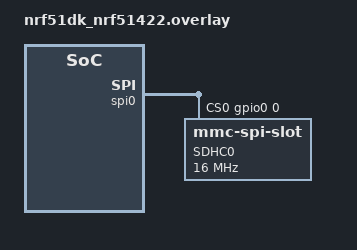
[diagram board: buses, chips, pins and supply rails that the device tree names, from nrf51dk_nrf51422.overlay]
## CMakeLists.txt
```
# SPDX-License-Identifier: Apache-2.0

cmake_minimum_required(VERSION 3.13.1)
find_package(Zephyr HINTS $ENV{ZEPHYR_BASE})
project(ctrace)

FILE(GLOB app_sources src/*.c)
target_sources(app PRIVATE ${app_sources})

zephyr_library_include_directories(${ZEPHYR_BASE}/samples/bluetooth)
```

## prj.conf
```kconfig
CONFIG_BT=y
CONFIG_BT_BROADCASTER=y
CONFIG_BT_OBSERVER=y
CONFIG_BT_DEBUG_LOG=y
CONFIG_ENTROPY_DEVICE_RANDOM_GENERATOR=y
CONFIG_HARDWARE_DEVICE_CS_GENERATOR=y
CONFIG_TINYCRYPT=y
CONFIG_TINYCRYPT_SHA256_HMAC=y
CONFIG_TINYCRYPT_SHA256=y
CONFIG_SPI=y
CONFIG_SPI_1=y
CONFIG_DISK_ACCESS=y
CONFIG_DISK_ACCESS_SDHC=y
CONFIG_DISK_ACCESS_SPI_SDHC=y
CONFIG_LOG=y
CONFIG_FILE_SYSTEM=y
CONFIG_FAT_FILESYSTEM_ELM=y
CONFIG_GPIO=y
# hardening
#CONFIG_BOOT_BANNER=n
#CONFIG_STACK_CANARIES=y
#CONFIG_STACK_POINTER_RANDOM=100
#CONFIG_PRINTK=n
#CONFIG_EARLY_CONSOLE=n
#CONFIG_OVERRIDE_FRAME_POINTER_DEFAULT=y
#CONFIG_LOG=n
#CONFIG_BUILD_OUTPUT_STRIPPED=y
#CONFIG_FAULT_DUMP=0
#CONFIG_STACK_SENTINEL=y
#shell

CONFIG_SHELL=y
CONFIG_SHELL_BACKENDS=y
CONFIG_SHELL_BACKEND_SERIAL=y
CONFIG_SHELL_PROMPT_UART="ctrace:~$ "
CONFIG_UART_SHELL_ON_DEV_NAME="UART_0"
CONFIG_SHELL_BACKEND_SERIAL_INTERRUPT_DRIVEN=y
CONFIG_SHELL_BACKEND_SERIAL_TX_RING_BUFFER_SIZE=8
CONFIG_SHELL_BACKEND_SERIAL_RX_RING_BUFFER_SIZE=64
CONFIG_SHELL_BACKEND_SERIAL_LOG_MESSAGE_QUEUE_TIMEOUT=100
CONFIG_SHELL_BACKEND_SERIAL_LOG_MESSAGE_QUEUE_SIZE=10
CONFIG_SHELL_STACK_SIZE=2048
CONFIG_SHELL_BACKSPACE_MODE_DELETE=y
CONFIG_SHELL_CMD_BUFF_SIZE=256
CONFIG_SHELL_PRINTF_BUFF_SIZE=30
CONFIG_SHELL_ARGC_MAX=12
CONFIG_SHELL_ECHO_STATUS=y
CONFIG_SHELL_VT100_COLORS=y
CONFIG_SHELL_METAKEYS=y
CONFIG_SHELL_HELP=y
CONFIG_SHELL_HELP_ON_WRONG_ARGUMENT_COUNT=y
CONFIG_SHELL_CMDS=y
CONFIG_SHELL_CMDS_RESIZE=y
CONFIG_KERNEL_SHELL=y
CONFIG_DEVICE_SHELL=y
CONFIG_POSIX_CLOCK=y
CONFIG_NEWLIB_LIBC=y

#CONFIG_DISK_LOG_LEVEL_DBG=y
#CONFIG_SPI_LOG_LEVEL_DBG=y
#CONFIG_LOG_BUFFER_SIZE=8192
```

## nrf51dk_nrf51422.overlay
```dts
&spi0 {
        status = "okay";
        cs-gpios = <&gpio0 0 GPIO_ACTIVE_HIGH>;

        sdhc0: sdhc@0 {
                compatible = "zephyr,mmc-spi-slot";
                reg = <0>;
                status = "okay";
                label = "SDHC0";
                spi-max-frequency = <16000000>;
        };
};
```

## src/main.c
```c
/* main.c - Application main entry point */

/*
 * Copyright (c) 2020 stf
 *
 * SPDX-License-Identifier: Apache-2.0
 */

#include <device.h>
#include <zephyr/types.h>
#include <stddef.h>
#include <sys/printk.h>
#include <sys/util.h>

#include <bluetooth/bluetooth.h>
#include <bluetooth/hci.h>

#include <disk/disk_access.h>
#include <logging/log.h>
#include <fs/fs.h>
#include <ff.h>

#include <devicetree.h>
#include <drivers/gpio.h>

#include <shell/shell.h>

#include <stdlib.h>
#include <posix/time.h>
#include <time.h>

#include <fs/fs.h>

LOG_MODULE_REGISTER(main);

// led0 on when advertizing
#define LED0_NODE DT_ALIAS(led0)
#define LED0   DT_GPIO_LABEL(LED0_NODE, gpios)
#define TXLED_PIN DT_GPIO_PIN(LED0_NODE, gpios)
#if DT_PHA_HAS_CELL(LED0_NODE, gpios, flags)
#define TXLED_FLAGS  DT_GPIO_FLAGS(LED0_NODE, gpios)
#else
#define TXLED_FLAGS 0
#endif

// led1 on when receiving ephid
#define LED1_NODE DT_ALIAS(led1)
#define LED1   DT_GPIO_LABEL(LED1_NODE, gpios)
#define RXLED_PIN DT_GPIO_PIN(LED1_NODE, gpios)
#if DT_PHA_HAS_CELL(LED1_NODE, gpios, flags)
#define RXLED_FLAGS  DT_GPIO_FLAGS(LED1_NODE, gpios)
#else
#define RXLED_FLAGS 0
#endif

// mutex so we can fsync the logfile in the main thread
// while the scan_cb thread tries to write to it
K_MUTEX_DEFINE(lf_mutex);

// led1 is initialized in main but used in scan_cb
struct device *rxled;

static FATFS fat_fs;
/* mounting info */
static struct fs_mount_t mp = {
   .type = FS_FATFS,
   .fs_data = &fat_fs,
};

// file handle for the logfile
struct fs_file_t logfile;
// in case we don't have an sd card we skip using it
int have_fs = 0;
int have_logfile = 0;


static u8_t mfg_data[22] = { 0xfd, 0xf6, };
u8_t *token = mfg_data + 2;

// advertisment beacon
static const struct bt_data ad[] = {
   // flags    02011a
   BT_DATA_BYTES(BT_DATA_FLAGS, 0x1a),
   // 16buuid  0303fdf6
   BT_DATA_BYTES(BT_DATA_UUID16_ALL, 0xfd, 0xf6),
   // data     1716fdf6<16rpi><4aem>
   BT_DATA(BT_DATA_SVC_DATA16, mfg_data, sizeof mfg_data),
};

// -----------------------------------------------------------------------

static void update_timer_handler(struct k_timer *dummy) {
  LOG_INF("update timer triggered");
  sys_csrand_get(token,20);
}

K_TIMER_DEFINE(update_timer, update_timer_handler, NULL);

void init(void) {
  LOG_INF("Initializing SS");
  sys_csrand_get(token,20);

  if(have_fs) {
    if(0!=fs_open(&logfile, "/SD:/dp3t.log")) {
      LOG_ERR("Unable to open logfile");
      have_logfile = 0;
    } else if(0!=fs_seek(&logfile, 0, FS_SEEK_END)) {
      LOG_ERR("Unable to seek to end of logfile");
      have_logfile = 0;
    } else {
      have_logfile = 1;
    }
  }
}
//----------------------------------------------------------

// callback in case an advertisement is received
static void scan_cb(const bt_addr_le_t *addr, s8_t rssi, u8_t adv_type, struct net_buf_simple *buf) {
  // only handle c019 advertisments
  const uint8_t prefix[11]={0x02, 0x01, 0x1a, 0x03, 0x03, 0xfd, 0xf6, 0x17, 0x16, 0xfd, 0xf6};

  if(buf->len!=31 || memcmp(buf->data,prefix,sizeof prefix)!=0) return;
  // rx led on
  gpio_pin_set(rxled, RXLED_PIN, 1);
  // only needed for devel/debug log on uart
  u8_t name[BT_ADDR_LE_STR_LEN];
  bt_addr_le_to_str(addr, name, BT_ADDR_LE_STR_LEN);
  LOG_INF("type: %d rssi: %d, addr %s", adv_type, rssi, log_strdup(name));
  LOG_HEXDUMP_INF(buf->data, buf->len, "data");
  // if we have a logfile we dump the rssid+ephid to it.
  if(have_fs) {
    u8_t entry[16+sizeof rssi];
    // todo check if time is set, then also store timestamp
    memcpy(entry, &rssi, sizeof rssi);
    memcpy(entry+sizeof rssi, buf->data+2, 16);

    // we need to lock the mutex, since the main loop might want to
    // sync the logfile from time to time
    if (k_mutex_lock(&lf_mutex, K_MSEC(100)) == 0) {
      /* mutex successfully locked */
      if(sizeof entry != fs_write(&logfile, entry, sizeof entry)) {
        printk("failed to write log entry\n");
      }
      k_mutex_unlock(&lf_mutex);
    } else {
      printk("Cannot lock lf mutex for logging ephid\n");
    }
  }
  // rx led off
  gpio_pin_set(rxled, RXLED_PIN, 0);
}

static int cmd_ctrace_gettime(const struct shell *shell, size_t argc, char **argv) {
  ARG_UNUSED(argc);
  ARG_UNUSED(argv);

  struct timespec tspec;
  clock_gettime(CLOCK_REALTIME, &tspec);
  struct tm t;
  if(&t!=gmtime_r(&tspec.tv_sec, &t)) {
    shell_error(shell,"cannot convert time from seconds since epoch");
    return 1;
  }
  shell_print(shell, "%d-%d-%dT%d:%d:%d", 1900+t.tm_year, 1+t.tm_mon, t.tm_mday, t.tm_hour, t.tm_min, t.tm_sec);
  return 0;
}

static int cmd_ctrace_settime(const struct shell *shell, size_t argc, char **argv) {
  if(argc!=2) {
    shell_error(shell, "Must provide seconds since unix epoch as parameter.");
    return 1;
  }
  struct timespec tspec;
  tspec.tv_sec = atoi(argv[1]);
  tspec.tv_nsec = 0;
  if(0!=clock_settime(CLOCK_REALTIME, &tspec)) {
    shell_error(shell, "Cannot set time");
    return 1;
  }

  return 0;
}

/* Creating subcommands (level 1 command) array for command "demo". */
SHELL_STATIC_SUBCMD_SET_CREATE(sub_ctrace,
        SHELL_CMD(settime, NULL, "set time command.", cmd_ctrace_settime),
        SHELL_CMD(gettime, NULL, "get time command.", cmd_ctrace_gettime),
        SHELL_SUBCMD_SET_END
);
/* Creating root (level 0) command "ctrace" without a handler */
SHELL_CMD_REGISTER(ctrace, &sub_ctrace, "ctrace commands", NULL);

static int fs_init(void) {
  /* raw disk i/o */
  static const char *disk_pdrv = "SD";
  if (disk_access_init(disk_pdrv) != 0) {
    LOG_ERR("Storage init ERROR!");
    return 0;
  }

  mp.mnt_point = "/SD:";
  // try to mount the FAT partition on the SD card
  if (fs_mount(&mp) != FR_OK) {
    LOG_ERR("Error mounting disk.");
    return 0;
  }
  LOG_INF("Disk mounted.");

  return 1;
}

static struct device* led_init(const char *name, gpio_pin_t pin, gpio_flags_t flags) {
  struct device *led_dev = device_get_binding(name);
  if (led_dev == NULL) {
    LOG_ERR("couldn't bind %s", name);
    return NULL;
  }
  if(0 > gpio_pin_configure(led_dev, pin, GPIO_OUTPUT_ACTIVE | flags)) {
    LOG_ERR("couldn't configure %s", name);
    return NULL;
  }
  // switch off led
  gpio_pin_set(led_dev, pin, 0);
  return led_dev;
}

void main(void) {
  have_fs = fs_init();

  // tx led
  struct device *txled = led_init(LED0, TXLED_PIN, TXLED_FLAGS);
  // rx led (is global)
  rxled = led_init(LED1, RXLED_PIN, RXLED_FLAGS);

  init();

  // ble setup
  struct bt_le_scan_param scan_param = {
        .type       = BT_HCI_LE_SCAN_PASSIVE,
        .options    = BT_LE_SCAN_OPT_NONE,
        .interval   = 0x0010,
        .window     = 0x0010,
  };
  int err;

  LOG_INF("Starting Bluetooth subsystem");
  /* Initialize the Bluetooth Subsystem */
  err = bt_enable(NULL);
  if (err) {
    LOG_ERR("Bluetooth init failed (err %d)", err);
    return;
  }

  LOG_INF("Bluetooth initialized");

  err = bt_le_scan_start(&scan_param, scan_cb);
  if (err) {
    LOG_ERR("Starting to scan failed (err %d)", err);
    return;
  }

  // main loop
  do {
    k_sleep(K_MSEC(1000));
    // tx led
    gpio_pin_set(txled, TXLED_PIN, 1);

    /* Start advertising */
    err = bt_le_adv_start(BT_LE_ADV_NCONN, ad, ARRAY_SIZE(ad), NULL, 0);
    if (err) {
      LOG_ERR("Advertising failed to start (err %d)", err);
      return;
    }

    k_sleep(K_MSEC(400));

    err = bt_le_adv_stop();
    if (err) {
      LOG_ERR("Advertising failed to stop (err %d)", err);
      return;
    }

    gpio_pin_set(txled, TXLED_PIN, 0);

    if (k_mutex_lock(&lf_mutex, K_MSEC(10)) == 0) {
      /* mutex successfully locked */
      if(0!=fs_sync(&logfile)) {
        LOG_ERR("Failed to sync logfile");
      }
      k_mutex_unlock(&lf_mutex);
    } else {
      LOG_WRN("Cannot lock lf mutex for syncing");
    }

  } while (1);
}
```

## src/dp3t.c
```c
#include <logging/log.h>

#include <tinycrypt/sha256.h>
#include <tinycrypt/hmac.h>
#include <bluetooth/crypto.h>
#include <tinycrypt/constants.h>

#include <fs/fs.h>

#include <posix/time.h>
#include <time.h>

LOG_MODULE_REGISTER(dp3t);

#include "set.h"

extern int have_fs, have_logfile;
extern u8_t *token;
extern struct fs_file_t logfile;
static struct fs_file_t ctxfile;
static int have_ctxfile;

// a new day, a new SK
// SK = SHA256(SK)
static int next_sk(u8_t *SK) {
  struct tc_sha256_state_struct ctx;
  tc_sha256_init(&ctx);
  if(TC_CRYPTO_FAIL==tc_sha256_update (&ctx, SK, 32)) {
    LOG_ERR("failed to gen next SK (update)");
    return -1;
  }
  if(TC_CRYPTO_FAIL==tc_sha256_final(SK, &ctx)) {
    LOG_ERR("failed to gen next SK (final)");
    return -1;
  }
  return 0;
}

// tag is derived from SK and used as key in the AESCTR DBRG
// tag = HMAC-SHA256(SK, "broadcast key")
static int get_tag(const u8_t *SK, u8_t *tag) {
  struct tc_hmac_state_struct ctx;
  (void)memset(&ctx, 0x00, sizeof(ctx));
  if(TC_CRYPTO_FAIL==tc_hmac_set_key(&ctx, SK, 32)) {
    LOG_ERR("failed to set key of HMAC");
    return -1;
  }
  if(TC_CRYPTO_FAIL==tc_hmac_init(&ctx)) {
    LOG_ERR("failed to init HMAC");
    return -1;
  }
  if(TC_CRYPTO_FAIL==tc_hmac_update (&ctx, "broadcast key", 13)) {
    LOG_ERR("failed to hmac (update)");
    return -1;
  }
  if(TC_CRYPTO_FAIL==tc_hmac_final(tag, TC_SHA256_DIGEST_SIZE, &ctx)) {
    LOG_ERR("failed to hmac (final)");
    return -1;
  }
  return 0;
}

// get_ephid implements the PRG which derives the ith ephid using AES CTR
// ephid_i = AESCTR(tag, i)
static int get_ephid(const u8_t *tag, const u32_t i, u8_t *ephid) {
  u8_t ctr[16]={0};
  memcpy(ctr+12,&i,4);
  if(0!=bt_encrypt_le(tag, ctr, ephid)) {
    LOG_ERR("failed to aes-ctr ephid");
    return -1;
  }
  return 0;
}

static struct {
  time_t SK0_ts;      // counts the age of SK0 in days
  u8_t SK0[32];       // the oldest sk younger than 14 days
  u8_t SK[32];        // the current SK
  u8_t tag[TC_SHA256_DIGEST_SIZE];
  ephids_set ephids;
  time_t ephid_ts;
  u8_t ephid[16];
} ctx;

static void logctx(void) {
  struct tm t;
  if(&t!=gmtime_r(&ctx.SK0_ts, &t)) {
    LOG_ERR("cannot convert to time from SK0_ts");
  } else {
    LOG_INF("sk0_ts: %d-%d-%dT%d:%d:%d", 1900+t.tm_year, 1+t.tm_mon, t.tm_mday, t.tm_hour, t.tm_min, t.tm_sec);
  }
  LOG_HEXDUMP_INF(ctx.SK0, sizeof ctx.SK0, "sk0");
  LOG_HEXDUMP_INF(ctx.SK, sizeof ctx.SK, "sk");
  LOG_HEXDUMP_INF(ctx.tag, sizeof ctx.tag, "tag");
  LOG_HEXDUMP_INF(&ctx.ephids, sizeof ctx.ephids, "ephids");
  if(&t!=gmtime_r(&ctx.ephid_ts, &t)) {
    LOG_ERR("cannot convert to time from ephid_ts");
  } else {
    LOG_INF("ephid_ts: %d-%d-%dT%d:%d:%d", 1900+t.tm_year, 1+t.tm_mon, t.tm_mday, t.tm_hour, t.tm_min, t.tm_sec);
  }
  LOG_HEXDUMP_INF(ctx.ephid, sizeof ctx.ephid, "ephid");
}

static int savectx(void) {
  if(!have_fs || !have_ctxfile) return 1;
  LOG_INF("Saving dp3t ctx");
  // try to load last state from fs

  if(sizeof ctx != fs_write(&ctxfile, &ctx, sizeof ctx)) {
    LOG_ERR("failed to write dp3t.ctx");
    fs_close(&ctxfile);
    return 1;
  }

  if(0!=fs_sync(&ctxfile)) {
    LOG_ERR("Failed to sync ctxfile");
  }

  if(sizeof ctx != fs_seek(&ctxfile, 0, FS_SEEK_SET)) {
    LOG_ERR("failed to seek dp3t.ctxnew");
    fs_close(&ctxfile);
    have_ctxfile=0;
    return 1;
  }

  LOG_INF("Successfully saved dp3t.ctx");
  return 0;
}

static int advance_sk(void) {
  // generate next SK
  if(0!=next_sk(ctx.SK)) {
    LOG_ERR("failed to derive next SK");
    k_fatal_halt(4);
  }
  // while if SK0 is older than 14 days advance it
  struct timespec ts;
  clock_gettime(CLOCK_REALTIME, &ts);
  while(ctx.SK0_ts + 14*24*60*60 < ts.tv_sec) {
    next_sk(ctx.SK0);
    ctx.SK0_ts+=24*60*60;
  }
  // recalculate tag
  LOG_INF("recalculating tag");
  if(0!=get_tag(ctx.SK,ctx.tag)) {
    LOG_ERR("failed to derive tag from SK");
    k_fatal_halt(5);
  }

  // reset set of available ephids
  init_set(&ctx.ephids);
  return 0;
}

static void update_timer_handler(struct k_timer *dummy) {
  LOG_INF("dp3t update timer triggered");
  // get absolute time
  struct timespec ts;
  clock_gettime(CLOCK_REALTIME, &ts);
  struct tm t;
  if(&t!=gmtime_r(&ts.tv_sec, &t)) {
    LOG_ERR("cannot convert time from seconds since epoch");
    k_fatal_halt(2);
  }

  int advanced = 0;
  // check if close to midnight, if so, advance sk
  if((t.tm_hour==23 && t.tm_min > 60-DP3T_EPOCH/2) ||  (t.tm_hour==0 && t.tm_min < DP3T_EPOCH/2)) {
    LOG_INF("midnight advance SK");
    if(0!=advance_sk()) {
      LOG_ERR("failed to advance SK");
      k_fatal_halt(9);
    }
    advanced=1;
  }

  // get next ephid
  int ephid_idx = nextid(&ctx.ephids);
  // oops? invalid ephid idx from shuffled set?
  if(ephid_idx>=DP3T_EPIDS_PER_DAY) {
    LOG_ERR("invalid ephid idx from nextid: %d", ephid_idx);
    k_fatal_halt(1);
  }
  // nextid returned an error? probably the shuffled set is empty?
  if(ephid_idx==-1) {
    LOG_INF("nextid returned -1, empty set?");
    if(advanced) {
      LOG_ERR("failed to get next ephid directly after advancing SK");
      k_fatal_halt(10);
    }
    // most probably we have no more ids to chose from,
    // so we might want to check if we are close to midnight, if so advance SK
    if(!((t.tm_hour==23 && t.tm_min > 60-DP3T_EPOCH) ||  (t.tm_hour==0 && t.tm_min < DP3T_EPOCH))) {
      LOG_ERR("Error ran out of ephids and not close enough to midnight: %d-%d-%dT%d:%d:%d", 1900+t.tm_year, 1+t.tm_mon, t.tm_mday, t.tm_hour, t.tm_min, t.tm_sec);
      k_fatal_halt(3);
    }
    if(0!=advance_sk()) {
      LOG_ERR("failed to advance SK after failing to get ephid the 1st time");
      k_fatal_halt(11);
    }
    ephid_idx = nextid(&ctx.ephids);
    LOG_INF("next id: %d", ephid_idx);
    if(ephid_idx>=DP3T_EPIDS_PER_DAY) {
      LOG_ERR("invalid ephid idx from nextid: %d", ephid_idx);
      k_fatal_halt(6);
    }
    if(ephid_idx==-1) {
      LOG_ERR("invalid ephid idx from nextid: %d - even after advancing SK!", ephid_idx);
      k_fatal_halt(7);
    }
  }
  if(0!=get_ephid(ctx.tag,ephid_idx,ctx.ephid)) {
    LOG_ERR("fatal error: failed to do aesctr for PRG");
    k_fatal_halt(8);
  }
  memcpy(token,ctx.ephid, sizeof ctx.ephid);
  memcpy(&ctx.ephid_ts, &ts.tv_sec, sizeof ctx.ephid_ts);
  logctx();
  savectx();
}

K_TIMER_DEFINE(update_timer, update_timer_handler, NULL);

static int loadctx(void) {
  if(!have_fs) return 1;

  if(0!=fs_open(&ctxfile, "/SD:/dp3t.ctx")) {
    LOG_ERR("Unable to open dp3t.ctx");
    have_ctxfile=0;
    return 1;
  } else {
    have_ctxfile=1;
  }

  // try to load last state from fs
  LOG_INF("attempting to load last dp3t ctx");

  if(sizeof ctx != fs_read(&ctxfile, &ctx, sizeof ctx)) {
    LOG_ERR("failed to load dp3t.ctx");
    return 1;
  }
  LOG_INF("loaded ctx, checking sanity");

  // do a sanity check that SK0 is a predecessor of SK within 14 days
  int i;
  uint8_t sk[sizeof ctx.SK];
  memcpy(sk,ctx.SK0,sizeof ctx.SK0);
  for(i=0;i<14;i++) {
    if(memcmp(sk,ctx.SK0,sizeof ctx.SK)==0) {
      break;
    }
    next_sk(sk);
  }
  if(i>=14) {
    LOG_ERR("loaded SK is not within 14 hashes of SK0, ctx is invalid");
    return 1;
  }
  if(ctx.SK0_ts<1591384118) {
    LOG_ERR("loaded SK0 is older than expected, ctx is invalid");
    return 1;
  }

  if(ctx.ephid_ts < ctx.SK0_ts) {
    LOG_ERR("loaded ephid is older than expected, ctx is invalid");
    return 1;
  }

  LOG_INF("verifying tag");
  u8_t tag[sizeof ctx.tag];
  if(0!=get_tag(ctx.SK,tag)) {
    LOG_ERR("failed to derive tag from SK");
    return 1;
  }
  if(memcmp(&ctx.tag,tag,sizeof tag)!=0) {
    LOG_ERR("tag in ctx is not derived from SK in ctx");
    return 1;
  }

  LOG_INF("Successfully verified dp3t.ctx");

  logctx();

  return 0;
}

int dp3t_init(void) {
  LOG_INF("Initializing DP3T");
  if(0!=loadctx()) {
    // no context found, start from scratch
    // initialize SK
    LOG_INF("Loading previous dp3t ctx failed, initializing SK");
    sys_csrand_get(ctx.SK,32);
    // make a copy of it to keep it for 14 "days"
    memcpy(ctx.SK0,ctx.SK,32);

    struct timespec t;
    clock_gettime(CLOCK_REALTIME, &t);
    memcpy(&ctx.SK0_ts, &t.tv_sec, sizeof ctx.SK0_ts);

    memset(&ctx.ephid_ts,0,sizeof ctx.ephid_ts);
    memset(&ctx.ephid,0,sizeof ctx.ephid);

    init_set(&ctx.ephids);
    LOG_INF("Initializing tag");
    // tag needs to be calculated once, after changing SK
    if(0!=get_tag(ctx.SK,ctx.tag)) {
      LOG_ERR("failed to derive tag from SK");
    }
  }

  struct timespec t;
  clock_gettime(CLOCK_REALTIME, &t);
  if(ctx.ephid_ts + DP3T_EPOCH_SECONDS <= t.tv_sec) {
    // ephid is too old, get a new one
    LOG_INF("getting fresh ephid");
    if(0!=get_ephid(ctx.tag,nextid(&ctx.ephids),ctx.ephid)) {
      LOG_ERR("failed to get ephid");
      return 1;
    }
    memcpy(token,&ctx.ephid, sizeof ctx.ephid);
    memcpy(&ctx.ephid_ts, &t.tv_sec, sizeof ctx.ephid_ts);
    // set timer to trigger changing ephids and possibly SK
    k_timer_start(&update_timer, K_SECONDS(DP3T_EPOCH_SECONDS), K_SECONDS(DP3T_EPOCH_SECONDS));
  } else {
    memcpy(token,&ctx.ephid, sizeof ctx.ephid);
    // set timer to - so that the current ephid still has some time before expiration - trigger changing ephids and possibly SK
    k_timer_start(&update_timer, K_SECONDS(ctx.ephid_ts - t.tv_sec + DP3T_EPOCH_SECONDS), K_SECONDS(DP3T_EPOCH_SECONDS));
  }

  if(have_fs) {
    savectx();
    if(0!=fs_open(&logfile, "/SD:/dp3t.log")) {
      LOG_ERR("Unable to open logfile");
      have_logfile = 0;
    } else if(0!=fs_seek(&logfile, 0, FS_SEEK_END)) {
      LOG_ERR("Unable to seek to end of logfile");
      have_logfile = 0;
    } else {
      have_logfile = 1;
    }
  }

  logctx();
  return 0;
}

void dp3t_stop(void) {
  k_timer_stop(&update_timer);
  savectx();
  fs_close(&logfile);
  fs_close(&ctxfile);
}
```

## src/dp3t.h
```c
#ifndef dp3t_h
#define dp3t_h

#define DP3T_EPOCH 10                         // minutes
#define DP3T_EPOCH_SECONDS (DP3T_EPOCH*60)    // seconds
#define DP3T_EPIDS_PER_DAY (24*60)/DP3T_EPOCH

int dp3t_init(void);
void dp3t_stop(void);

#endif //dp3t_h
```

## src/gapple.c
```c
#include <logging/log.h>

#include <tinycrypt/sha256.h>
#include <tinycrypt/hmac.h>
#include <bluetooth/crypto.h>
#include <tinycrypt/constants.h>

#include <fs/fs.h>

#include <posix/time.h>
#include <time.h>

LOG_MODULE_REGISTER(dp3t);

#include "set.h"

extern int have_fs, have_logfile;
extern u8_t *token;
extern struct fs_file_t logfile;

static struct fs_file_t ctxfile;
static int have_ctxfile;

#define TEKRollingPeriod 144

static uint32_t ENIntervalNumber(void) {
  struct timespec ts;
  clock_gettime(CLOCK_REALTIME, &ts);
  // TODO must be little endian
  return ts.tv_sec / 600;
}

// store 14 {tek, i} pairs
void next_tek(uint8_t *tek) {
  sys_csrand_get(tek,16);
}

int hkdf(const uint8_t *key, const size_t key_len,
         const uint8_t *salt, const size_t salt_len,
         const uint8_t *info, const size_t info_len,
         uint8_t *okm, const size_t okm_len) {
  LOG_HEXDUMP_INF(key, key_len, "key");
  LOG_HEXDUMP_INF(salt, salt_len, "salt");
  LOG_HEXDUMP_INF(info, info_len, "info");
  struct tc_hmac_state_struct ctx;

  // extract
  if(salt && salt_len>0) {
    LOG_INF("adding salt");
    if(TC_CRYPTO_FAIL==tc_hmac_set_key(&ctx, salt, salt_len)) {
        LOG_ERR("failed to hmac salt (update)");
        return -1;
    }
  } else {
    uint8_t zero_salt[TC_SHA256_DIGEST_SIZE]={0};
    LOG_INF("adding zero salt");
    if(TC_CRYPTO_FAIL==tc_hmac_set_key(&ctx, zero_salt, sizeof zero_salt)) {
        LOG_ERR("failed to hmac zero_salt (update)");
        return -1;
    }
  }

  if(TC_CRYPTO_FAIL==tc_hmac_init(&ctx)) {
    LOG_ERR("failed to init extractor HMAC");
    return -1;
  }

  if(TC_CRYPTO_FAIL==tc_hmac_update(&ctx, key, key_len)) {
    LOG_ERR("failed to set key of extractor HMAC");
    return -1;
  }


  uint8_t prk[TC_SHA256_DIGEST_SIZE];
  if(TC_CRYPTO_FAIL==tc_hmac_final(prk, TC_SHA256_DIGEST_SIZE, &ctx)) {
    LOG_ERR("failed to hmac prk (final)");
    return -1;
  }
  LOG_HEXDUMP_INF(prk, sizeof prk, "prk");

  // expand
  size_t i,L;
  uint8_t T[TC_SHA256_DIGEST_SIZE], c=1, *dptr=okm;
  for(L=okm_len;L>0;i++) {
    if(TC_CRYPTO_FAIL==tc_hmac_set_key(&ctx, prk, sizeof prk)) {
      LOG_ERR("failed to set key of HMAC");
      return -1;
    }
    if(TC_CRYPTO_FAIL==tc_hmac_init(&ctx)) {
      LOG_ERR("failed to init HMAC");
      return -1;
    }
    if(TC_CRYPTO_FAIL==tc_hmac_update (&ctx, T, c==1?0:sizeof T)) {
      LOG_ERR("failed to hmac (update)");
      return -1;
    }
    if(info && info_len>0) {
      if(TC_CRYPTO_FAIL==tc_hmac_update (&ctx, info, info_len)) {
        LOG_ERR("failed to hmac (update)");
        return -1;
      }
    }
    if(TC_CRYPTO_FAIL==tc_hmac_update (&ctx, &c, sizeof c)) {
      LOG_ERR("failed to hmac (update)");
      return -1;
    }
    c++;
    if(TC_CRYPTO_FAIL==tc_hmac_final(T, sizeof T, &ctx)) {
      LOG_ERR("failed to hmac (final)");
      return -1;
    }
    int len = (L>TC_SHA256_DIGEST_SIZE)?TC_SHA256_DIGEST_SIZE:L;
    memcpy(dptr,T,len);
    dptr+=len;
    L-=len;
  }
  return 0;
}

// Rolling Proximity Identifier Key 
int next_rpid(const uint8_t tek[16], uint8_t rpid[16]) {
  return hkdf(tek, sizeof tek, NULL, 0, "EN-RPIK", 7, rpid, 16);
}

void next_rpi(const uint8_t rpik[16], uint8_t rpi[16]) {
  uint8_t padded[16]="EN-RPI\x00\x00\x00\x00\x00\x00\x00\x00\x00\x00";
  *((uint32_t*) (padded+12))=ENIntervalNumber();
  bt_encrypt_le(rpik, padded, rpi);
}

int next_aemk(const uint8_t tek[16], uint8_t aemk[16]) {
  return hkdf(tek, sizeof tek, NULL, 0, "EN-AEMK", 7, aemk, 16);
}

void get_aem(const uint8_t aemk[16], const uint8_t rpi[16], const uint8_t metadata[16], uint8_t aem[16]) {
  uint8_t ct[16];
  bt_encrypt_le(aemk, rpi, ct);
  int i;
  for(i=0;i<16;i++) aem[i]=metadata[i]^ct[i];
}

// a new day, a new SK
// SK = SHA256(SK)
static int next_sk(u8_t *SK) {
  struct tc_sha256_state_struct ctx;
  tc_sha256_init(&ctx);
  if(TC_CRYPTO_FAIL==tc_sha256_update (&ctx, SK, 32)) {
    LOG_ERR("failed to gen next SK (update)");
    return -1;
  }
  if(TC_CRYPTO_FAIL==tc_sha256_final(SK, &ctx)) {
    LOG_ERR("failed to gen next SK (final)");
    return -1;
  }
  return 0;
}

// tag is derived from SK and used as key in the AESCTR DBRG
// tag = HMAC-SHA256(SK, "broadcast key")
static int get_tag(const u8_t *SK, u8_t *tag) {
  struct tc_hmac_state_struct ctx;
  (void)memset(&ctx, 0x00, sizeof(ctx));
  if(TC_CRYPTO_FAIL==tc_hmac_set_key(&ctx, SK, 32)) {
    LOG_ERR("failed to set key of HMAC");
    return -1;
  }
  if(TC_CRYPTO_FAIL==tc_hmac_init(&ctx)) {
    LOG_ERR("failed to init HMAC");
    return -1;
  }
  if(TC_CRYPTO_FAIL==tc_hmac_update (&ctx, "broadcast key", 13)) {
    LOG_ERR("failed to hmac (update)");
    return -1;
  }
  if(TC_CRYPTO_FAIL==tc_hmac_final(tag, TC_SHA256_DIGEST_SIZE, &ctx)) {
    LOG_ERR("failed to hmac (final)");
    return -1;
  }
  return 0;
}

// get_ephid implements the PRG which derives the ith ephid using AES CTR
// ephid_i = AESCTR(tag, i)
static int get_ephid(const u8_t *tag, const u32_t i, u8_t *ephid) {
  u8_t ctr[16]={0};
  memcpy(ctr+12,&i,4);
  if(0!=bt_encrypt_le(tag, ctr, ephid)) {
    LOG_ERR("failed to aes-ctr ephid");
    return -1;
  }
  return 0;
}

static struct {
  time_t SK0_ts;      // counts the age of SK0 in days
  u8_t SK0[32];       // the oldest sk younger than 14 days
  u8_t SK[32];        // the current SK
  u8_t tag[TC_SHA256_DIGEST_SIZE];
  ephids_set ephids;
  time_t ephid_ts;
  u8_t ephid[16];
} ctx;

static void logctx(void) {
  struct tm t;
  if(&t!=gmtime_r(&ctx.SK0_ts, &t)) {
    LOG_ERR("cannot convert to time from SK0_ts");
  } else {
    LOG_INF("sk0_ts: %d-%d-%dT%d:%d:%d", 1900+t.tm_year, 1+t.tm_mon, t.tm_mday, t.tm_hour, t.tm_min, t.tm_sec);
  }
  LOG_HEXDUMP_INF(ctx.SK0, sizeof ctx.SK0, "sk0");
  LOG_HEXDUMP_INF(ctx.SK, sizeof ctx.SK, "sk");
  LOG_HEXDUMP_INF(ctx.tag, sizeof ctx.tag, "tag");
  LOG_HEXDUMP_INF(&ctx.ephids, sizeof ctx.ephids, "ephids");
  if(&t!=gmtime_r(&ctx.ephid_ts, &t)) {
    LOG_ERR("cannot convert to time from ephid_ts");
  } else {
    LOG_INF("ephid_ts: %d-%d-%dT%d:%d:%d", 1900+t.tm_year, 1+t.tm_mon, t.tm_mday, t.tm_hour, t.tm_min, t.tm_sec);
  }
  LOG_HEXDUMP_INF(ctx.ephid, sizeof ctx.ephid, "ephid");
}

static int savectx(void) {
  if(!have_fs || !have_ctxfile) return 1;
  LOG_INF("Saving dp3t ctx");
  // try to load last state from fs

  if(sizeof ctx != fs_write(&ctxfile, &ctx, sizeof ctx)) {
    LOG_ERR("failed to write dp3t.ctx");
    fs_close(&ctxfile);
    return 1;
  }

  if(0!=fs_sync(&ctxfile)) {
    LOG_ERR("Failed to sync ctxfile");
  }

  if(sizeof ctx != fs_seek(&ctxfile, 0, FS_SEEK_SET)) {
    LOG_ERR("failed to seek dp3t.ctxnew");
    fs_close(&ctxfile);
    have_ctxfile=0;
    return 1;
  }

  LOG_INF("Successfully saved dp3t.ctx");
  return 0;
}

static int advance_sk(void) {
  // generate next SK
  if(0!=next_sk(ctx.SK)) {
    LOG_ERR("failed to derive next SK");
    k_fatal_halt(4);
  }
  // while if SK0 is older than 14 days advance it
  struct timespec ts;
  clock_gettime(CLOCK_REALTIME, &ts);
  while(ctx.SK0_ts + 14*24*60*60 < ts.tv_sec) {
    next_sk(ctx.SK0);
    ctx.SK0_ts+=24*60*60;
  }
  // recalculate tag
  LOG_INF("recalculating tag");
  if(0!=get_tag(ctx.SK,ctx.tag)) {
    LOG_ERR("failed to derive tag from SK");
    k_fatal_halt(5);
  }

  // reset set of available ephids
  init_set(&ctx.ephids);
  return 0;
}

static void update_timer_handler(struct k_timer *dummy) {
  LOG_INF("dp3t update timer triggered");
  // get absolute time
  struct timespec ts;
  clock_gettime(CLOCK_REALTIME, &ts);
  struct tm t;
  if(&t!=gmtime_r(&ts.tv_sec, &t)) {
    LOG_ERR("cannot convert time from seconds since epoch");
    k_fatal_halt(2);
  }

  int advanced = 0;
  // check if close to midnight, if so, advance sk
  if((t.tm_hour==23 && t.tm_min > 60-DP3T_EPOCH/2) ||  (t.tm_hour==0 && t.tm_min < DP3T_EPOCH/2)) {
    LOG_INF("midnight advance SK");
    if(0!=advance_sk()) {
      LOG_ERR("failed to advance SK");
      k_fatal_halt(9);
    }
    advanced=1;
  }

  // get next ephid
  int ephid_idx = nextid(&ctx.ephids);
  // oops? invalid ephid idx from shuffled set?
  if(ephid_idx>=DP3T_EPIDS_PER_DAY) {
    LOG_ERR("invalid ephid idx from nextid: %d", ephid_idx);
    k_fatal_halt(1);
  }
  // nextid returned an error? probably the shuffled set is empty?
  if(ephid_idx==-1) {
    LOG_INF("nextid returned -1, empty set?");
    if(advanced) {
      LOG_ERR("failed to get next ephid directly after advancing SK");
      k_fatal_halt(10);
    }
    // most probably we have no more ids to chose from,
    // so we might want to check if we are close to midnight, if so advance SK
    if(!((t.tm_hour==23 && t.tm_min > 60-DP3T_EPOCH) ||  (t.tm_hour==0 && t.tm_min < DP3T_EPOCH))) {
      LOG_ERR("Error ran out of ephids and not close enough to midnight: %d-%d-%dT%d:%d:%d", 1900+t.tm_year, 1+t.tm_mon, t.tm_mday, t.tm_hour, t.tm_min, t.tm_sec);
      k_fatal_halt(3);
    }
    if(0!=advance_sk()) {
      LOG_ERR("failed to advance SK after failing to get ephid the 1st time");
      k_fatal_halt(11);
    }
    ephid_idx = nextid(&ctx.ephids);
    LOG_INF("next id: %d", ephid_idx);
    if(ephid_idx>=DP3T_EPIDS_PER_DAY) {
      LOG_ERR("invalid ephid idx from nextid: %d", ephid_idx);
      k_fatal_halt(6);
    }
    if(ephid_idx==-1) {
      LOG_ERR("invalid ephid idx from nextid: %d - even after advancing SK!", ephid_idx);
      k_fatal_halt(7);
    }
  }
  if(0!=get_ephid(ctx.tag,ephid_idx,ctx.ephid)) {
    LOG_ERR("fatal error: failed to do aesctr for PRG");
    k_fatal_halt(8);
  }
  memcpy(token,ctx.ephid, sizeof ctx.ephid);
  memcpy(&ctx.ephid_ts, &ts.tv_sec, sizeof ctx.ephid_ts);
  logctx();
  savectx();
}

K_TIMER_DEFINE(update_timer, update_timer_handler, NULL);

static int loadctx(void) {
  if(!have_fs) return 1;

  if(0!=fs_open(&ctxfile, "/SD:/dp3t.ctx")) {
    LOG_ERR("Unable to open dp3t.ctx");
    have_ctxfile=0;
    return 1;
  } else {
    have_ctxfile=1;
  }

  // try to load last state from fs
  LOG_INF("attempting to load last dp3t ctx");

  if(sizeof ctx != fs_read(&ctxfile, &ctx, sizeof ctx)) {
    LOG_ERR("failed to load dp3t.ctx");
    return 1;
  }
  LOG_INF("loaded ctx, checking sanity");

  // do a sanity check that SK0 is a predecessor of SK within 14 days
  int i;
  uint8_t sk[sizeof ctx.SK];
  memcpy(sk,ctx.SK0,sizeof ctx.SK0);
  for(i=0;i<14;i++) {
    if(memcmp(sk,ctx.SK0,sizeof ctx.SK)==0) {
      break;
    }
    next_sk(sk);
  }
  if(i>=14) {
    LOG_ERR("loaded SK is not within 14 hashes of SK0, ctx is invalid");
    return 1;
  }
  if(ctx.SK0_ts<1591384118) {
    LOG_ERR("loaded SK0 is older than expected, ctx is invalid");
    return 1;
  }

  if(ctx.ephid_ts < ctx.SK0_ts) {
    LOG_ERR("loaded ephid is older than expected, ctx is invalid");
    return 1;
  }

  LOG_INF("verifying tag");
  u8_t tag[sizeof ctx.tag];
  if(0!=get_tag(ctx.SK,tag)) {
    LOG_ERR("failed to derive tag from SK");
    return 1;
  }
  if(memcmp(&ctx.tag,tag,sizeof tag)!=0) {
    LOG_ERR("tag in ctx is not derived from SK in ctx");
    return 1;
  }

  LOG_INF("Successfully verified dp3t.ctx");

  logctx();

  return 0;
}

int dp3t_init(void) {
  LOG_INF("Initializing DP3T");
  if(0!=loadctx()) {
    // no context found, start from scratch
    // initialize SK
    LOG_INF("Loading previous dp3t ctx failed, initializing SK");
    sys_csrand_get(ctx.SK,32);
    // make a copy of it to keep it for 14 "days"
    memcpy(ctx.SK0,ctx.SK,32);

    struct timespec t;
    clock_gettime(CLOCK_REALTIME, &t);
    memcpy(&ctx.SK0_ts, &t.tv_sec, sizeof ctx.SK0_ts);

    memset(&ctx.ephid_ts,0,sizeof ctx.ephid_ts);
    memset(&ctx.ephid,0,sizeof ctx.ephid);

    init_set(&ctx.ephids);
    LOG_INF("Initializing tag");
    // tag needs to be calculated once, after changing SK
    if(0!=get_tag(ctx.SK,ctx.tag)) {
      LOG_ERR("failed to derive tag from SK");
    }
  }

  struct timespec t;
  clock_gettime(CLOCK_REALTIME, &t);
  if(ctx.ephid_ts + DP3T_EPOCH_SECONDS <= t.tv_sec) {
    // ephid is too old, get a new one
    LOG_INF("getting fresh ephid");
    if(0!=get_ephid(ctx.tag,nextid(&ctx.ephids),ctx.ephid)) {
      LOG_ERR("failed to get ephid");
      return 1;
    }
    memcpy(token,&ctx.ephid, sizeof ctx.ephid);
    memcpy(&ctx.ephid_ts, &t.tv_sec, sizeof ctx.ephid_ts);
    // set timer to trigger changing ephids and possibly SK
    k_timer_start(&update_timer, K_SECONDS(DP3T_EPOCH_SECONDS), K_SECONDS(DP3T_EPOCH_SECONDS));
  } else {
    memcpy(token,&ctx.ephid, sizeof ctx.ephid);
    // set timer to - so that the current ephid still has some time before expiration - trigger changing ephids and possibly SK
    k_timer_start(&update_timer, K_SECONDS(ctx.ephid_ts - t.tv_sec + DP3T_EPOCH_SECONDS), K_SECONDS(DP3T_EPOCH_SECONDS));
  }

  if(have_fs) {
    savectx();
    if(0!=fs_open(&logfile, "/SD:/dp3t.log")) {
      LOG_ERR("Unable to open logfile");
      have_logfile = 0;
    } else if(0!=fs_seek(&logfile, 0, FS_SEEK_END)) {
      LOG_ERR("Unable to seek to end of logfile");
      have_logfile = 0;
    } else {
      have_logfile = 1;
    }
  }

  logctx();
  return 0;
}

void dp3t_stop(void) {
  k_timer_stop(&update_timer);
  savectx();
  fs_close(&logfile);
  fs_close(&ctxfile);
}


void testhkdf(void) {
  /*
   IKM  = 0x0b0b0b0b0b0b0b0b0b0b0b0b0b0b0b0b0b0b0b0b0b0b (22 octets)
   salt = 0x000102030405060708090a0b0c (13 octets)
   info = 0xf0f1f2f3f4f5f6f7f8f9 (10 octets)
   L    = 42

   PRK  = 0x077709362c2e32df0ddc3f0dc47bba63
          90b6c73bb50f9c3122ec844ad7c2b3e5 (32 octets)
   OKM  = 0x3cb25f25faacd57a90434f64d0362f2a
          2d2d0a90cf1a5a4c5db02d56ecc4c5bf
          34007208d5b887185865 (42 octets)
          
   IKM  = 0x000102030405060708090a0b0c0d0e0f
          101112131415161718191a1b1c1d1e1f
          202122232425262728292a2b2c2d2e2f
          303132333435363738393a3b3c3d3e3f
          404142434445464748494a4b4c4d4e4f (80 octets)
   salt = 0x606162636465666768696a6b6c6d6e6f
          707172737475767778797a7b7c7d7e7f
          808182838485868788898a8b8c8d8e8f
          909192939495969798999a9b9c9d9e9f
          a0a1a2a3a4a5a6a7a8a9aaabacadaeaf (80 octets)
   info = 0xb0b1b2b3b4b5b6b7b8b9babbbcbdbebf
          c0c1c2c3c4c5c6c7c8c9cacbcccdcecf
          d0d1d2d3d4d5d6d7d8d9dadbdcdddedf
          e0e1e2e3e4e5e6e7e8e9eaebecedeeef
          f0f1f2f3f4f5f6f7f8f9fafbfcfdfeff (80 octets)
   L    = 82

   PRK  = 0x06a6b88c5853361a06104c9ceb35b45c
          ef760014904671014a193f40c15fc244 (32 octets)
   OKM  = 0xb11e398dc80327a1c8e7f78c596a4934
          4f012eda2d4efad8a050cc4c19afa97c
          59045a99cac7827271cb41c65e590e09
          da3275600c2f09b8367793a9aca3db71
          cc30c58179ec3e87c14c01d5c1f3434f
          1d87 (82 octets)
          
   Hash = SHA-256
   IKM  = 0x0b0b0b0b0b0b0b0b0b0b0b0b0b0b0b0b0b0b0b0b0b0b (22 octets)
   salt = (0 octets)
   info = (0 octets)
   L    = 42

   PRK  = 0x19ef24a32c717b167f33a91d6f648bdf
          96596776afdb6377ac434c1c293ccb04 (32 octets)
   OKM  = 0x8da4e775a563c18f715f802a063c5a31
          b8a11f5c5ee1879ec3454e5f3c738d2d
          9d201395faa4b61a96c8 (42 octets)
  */
}
```

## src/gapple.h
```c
#ifndef gact_h
#define gact_h

#define GACT_EPOCH 10                         // minutes
#define GACT_EPOCH_SECONDS (GACT_EPOCH*60)    // seconds
#define GACT_EPIDS_PER_DAY (24*60)/GACT_EPOCH

int gact_init(void);
void gact_stop(void);

#endif //dp3t_h
```

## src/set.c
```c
#include "set.h"
#include <string.h>
#include <random/rand32.h>

static unsigned int nth_bit_set(uint32_t value, unsigned int n) {
  // src: https://stackoverflow.com/questions/45482787/how-to-efficiently-find-the-n-th-set-bit
  const uint32_t  pop2  = (value & 0x55555555u) + ((value >> 1) & 0x55555555u);
  const uint32_t  pop4  = (pop2  & 0x33333333u) + ((pop2  >> 2) & 0x33333333u);
  const uint32_t  pop8  = (pop4  & 0x0f0f0f0fu) + ((pop4  >> 4) & 0x0f0f0f0fu);
  const uint32_t  pop16 = (pop8  & 0x00ff00ffu) + ((pop8  >> 8) & 0x00ff00ffu);
  const uint32_t  pop32 = (pop16 & 0x000000ffu) + ((pop16 >>16) & 0x000000ffu);
  unsigned int    rank  = 0;
  unsigned int    temp;

  if (n++ >= pop32) return 32;

  temp = pop16 & 0xffu;
  /* if (n > temp) { n -= temp; rank += 16; } */
  rank += ((temp - n) & 256) >> 4;
  n -= temp & ((temp - n) >> 8);

  temp = (pop8 >> rank) & 0xffu;
  /* if (n > temp) { n -= temp; rank += 8; } */
  rank += ((temp - n) & 256) >> 5;
  n -= temp & ((temp - n) >> 8);

  temp = (pop4 >> rank) & 0x0fu;
  /* if (n > temp) { n -= temp; rank += 4; } */
  rank += ((temp - n) & 256) >> 6;
  n -= temp & ((temp - n) >> 8);

  temp = (pop2 >> rank) & 0x03u;
  /* if (n > temp) { n -= temp; rank += 2; } */
  rank += ((temp - n) & 256) >> 7;
  n -= temp & ((temp - n) >> 8);

  temp = (value >> rank) & 0x01u;
  /* if (n > temp) rank += 1; */
  rank += ((temp - n) & 256) >> 8;

  return rank;
}

static int logbase2(uint32_t v) { // find the log base 2 of 32-bit v
   static const int MultiplyDeBruijnBitPosition[32] = {
      0, 9, 1, 10, 13, 21, 2, 29, 11, 14, 16, 18, 22, 25, 3, 30,
      8, 12, 20, 28, 15, 17, 24, 7, 19, 27, 23, 6, 26, 5, 4, 31
   };

   v |= v >> 1; // first round down to one less than a power of 2
   v |= v >> 2;
   v |= v >> 4;
   v |= v >> 8;
   v |= v >> 16;

   return MultiplyDeBruijnBitPosition[(uint32_t)(v * 0x07C4ACDDU) >> 27];
}

static int cntbits(uint32_t v) { // count bits set in this (32-bit value)
   uint32_t c; // store the total here
   static const int S[] = {1, 2, 4, 8, 16}; // Magic Binary Numbers
   static const int B[] = {0x55555555, 0x33333333, 0x0F0F0F0F, 0x00FF00FF, 0x0000FFFF};

   c = v - ((v >> 1) & B[0]);
   c = ((c >> S[1]) & B[1]) + (c & B[1]);
   c = ((c >> S[2]) + c) & B[2];
   c = ((c >> S[3]) + c) & B[3];
   c = ((c >> S[4]) + c) & B[4];

   return c;
}

void init_set(ephids_set *set) {
  set->size = DP3T_EPIDS_PER_DAY;
  set->cap = DP3T_EPIDS_PER_DAY;
  memset(set->limbs, 0xffffffff, sizeof set->limbs);
  set->limbs[DP3T_EPIDS_PER_DAY/32]&= ~(~0u << (DP3T_EPIDS_PER_DAY%32));
}

static int fetch(ephids_set *ephids, const uint32_t n) {
  if(n>ephids->size) return -1;
  uint32_t i, c0=0, c1=0;
  for(i=0;i<ephids->cap/32+1;i++) {
    c1+=cntbits(ephids->limbs[i]);
    if(c1>n) break;
    c0 = c1;
  }
  int j= nth_bit_set(ephids->limbs[i], n-c0);
  if(j==32) {
    //printf("size: %ld, n: %d, n-c0: %d, i: %d, limb: %x\n", ephids->size, n, n-c0, i, ephids->limbs[i]);
    return -1;
  }
  ephids->limbs[i]&=~(1<<j);
  return i*32+j;
}

static int _rand(const unsigned max) {
  uint32_t tmp=0xffffffff,
    log2max = logbase2(max),
    mask = ~(~0 << log2max);
  while(tmp>=max) {
    sys_csrand_get(&tmp,sizeof tmp);
    tmp &= mask;
  }
  return tmp;
}

int nextid(ephids_set *ephids) {
  int res = fetch(ephids, _rand(ephids->size));
  ephids->size--;
  return res;
}
```

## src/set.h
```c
#ifndef set_h
#define set_h

#include <stdint.h>
#include <stdlib.h>
#include "dp3t.h"

typedef struct {
  uint32_t limbs[DP3T_EPIDS_PER_DAY/32+1];
  size_t size;
  size_t cap;
} ephids_set;

void init_set(ephids_set *set);
int nextid(ephids_set *ephids);

#endif // set_h
```
